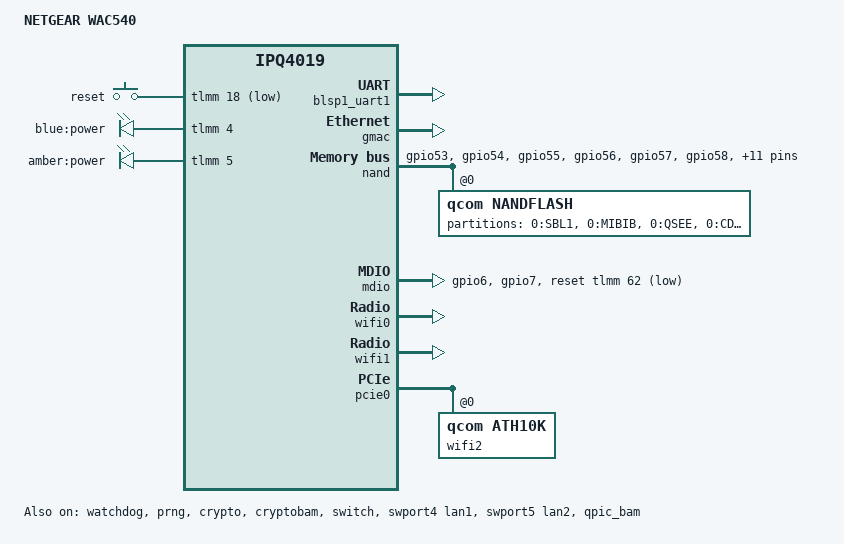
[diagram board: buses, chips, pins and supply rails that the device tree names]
// SPDX-License-Identifier: GPL-2.0-or-later OR MIT

/dts-v1/;

#include "qcom-ipq4019.dtsi"
#include <dt-bindings/gpio/gpio.h>
#include <dt-bindings/input/input.h>
#include <dt-bindings/soc/qcom,tcsr.h>
#include <dt-bindings/leds/common.h>

/ {
	model = "NETGEAR WAC540";
	compatible = "netgear,wac540", "qcom,ipq4019";

	aliases {
		ethernet0 = &gmac;
		led-boot = &led_power_blue;
		led-failsafe = &led_power_amber;
		led-upgrade = &led_power_amber;
	};

	chosen {
		stdout-path = "serial0:115200n8";
	};

	soc {
		counter@4a1000 {
			compatible = "qcom,qca-gcnt";
			reg = <0x4a1000 0x4>;
		};

		tcsr@1949000 {
			compatible = "qcom,tcsr";
			reg = <0x1949000 0x100>;
			qcom,wifi_glb_cfg = <TCSR_WIFI_GLB_CFG>;
		};

		ess_tcsr@1953000 {
			compatible = "qcom,tcsr";
			reg = <0x1953000 0x1000>;
			qcom,ess-interface-select = <TCSR_ESS_PSGMII>;
		};

		tcsr@1957000 {
			compatible = "qcom,tcsr";
			reg = <0x1957000 0x100>;
			qcom,wifi_noc_memtype_m0_m2 = <TCSR_WIFI_NOC_MEMTYPE_M0_M2>;
		};
	};

	keys {
		compatible = "gpio-keys";

		reset {
			label = "reset";
			gpios = <&tlmm 18 GPIO_ACTIVE_LOW>;
			linux,code = <KEY_RESTART>;
		};
	};

	leds {
		compatible = "gpio-leds";

		led_power_blue: power_blue {
			label = "blue:power";
			gpios = <&tlmm 4 GPIO_ACTIVE_HIGH>;
		};

		led_power_amber: power_amber {
			label = "amber:power";
			gpios = <&tlmm 5 GPIO_ACTIVE_HIGH>;
		};
	};
};

&blsp1_uart1 {
	status = "okay";
};

&watchdog {
	status = "okay";
};

&prng {
	status = "okay";
};

&crypto {
	status = "okay";
};

&cryptobam {
	status = "okay";
};

&gmac {
	status = "okay";
};

/* Activeer de interne Qualcomm DSA switch controller */
&switch {
	status = "okay";
};

/* Activeer de fysieke LAN poort 1 */
&swport4 {
	status = "okay";
	label = "lan1";
};

/* Activeer de fysieke LAN poort 2 */
&swport5 {
	status = "okay";
	label = "lan2";
};

&qpic_bam {
	status = "okay";
};

&nand {
	status = "okay";
	pinctrl-0 = <&nand_pins>;
	pinctrl-names = "default";

	nandflash@0 {
		reg = <0>;
		compatible = "qcom,nandflash";
        
		partitions {
			compatible = "fixed-partitions";
			#address-cells = <1>;
			#size-cells = <1>;

			partition@0 {
				label = "0:SBL1";
				reg = <0x00000000 0x00100000>;
				read-only;
			};

			partition@100000 {
				label = "0:MIBIB";
				reg = <0x00100000 0x00100000>;
				read-only;
			};

			partition@200000 {
				label = "0:QSEE";
				reg = <0x00200000 0x00100000>;
				read-only;
			};

			partition@300000 {
				label = "0:CDT";
				reg = <0x00300000 0x00080000>;
				read-only;
			};

			partition@380000 {
				label = "0:APPSBLENV";
				reg = <0x00380000 0x00080000>;
				read-only;
			};

			partition@400000 {
				label = "0:APPSBL";
				reg = <0x00400000 0x00200000>;
				read-only;
			};

			partition@600000 {
				label = "0:ART";
				reg = <0x00600000 0x00100000>;
				read-only;
			};

			/* 
			 * SAFELY CLAMPED FIRMWARE REGION:
			 * Truncated from 0x0f900000 to 0x05000000.
			 * Stops scanning cleanly at 0x05700000, 
			 * avoiding the bad blocks starting at 0x050e0000.
			 */
			partition@700000 {
				label = "firmware";
				reg = <0x00700000 0x05000000>;
				compatible = "ubi";
			};
		};
	};
};

&tlmm {
	mdio_pins: mdio_pinmux {
		mux_1 {
			pins = "gpio6";
			function = "mdio";
			bias-pull-up;
		};

		mux_2 {
			pins = "gpio7";
			function = "mdc";
			bias-pull-up;
		};
	};

	nand_pins: nand-pins {
		pins = "gpio53", "gpio54", "gpio55", "gpio56",
		       "gpio57", "gpio58", "gpio59", "gpio60",
		       "gpio61", "gpio62", "gpio63", "gpio64",
		       "gpio65", "gpio66", "gpio67", "gpio68",
		       "gpio69";
		function = "qpic";
		drive-strength = <10>;
		bias-disable;
	};
};

&mdio {
	status = "okay";

	pinctrl-0 = <&mdio_pins>;
	pinctrl-names = "default";
	reset-gpios = <&tlmm 62 GPIO_ACTIVE_LOW>;
	reset-delay-us = <2000>;
};

/* Interne QCA4019 Wi-Fi (2.4GHz) */
&wifi0 {
	status = "okay";
	qcom,ath10k-calibration-variant = "NETGEAR-WAC540";
};

/* Interne QCA4019 Wi-Fi (5GHz Low-band) */
&wifi1 {
	status = "okay";
	qcom,ath10k-calibration-variant = "NETGEAR-WAC540";
};

/* Externe QCA9984 Wi-Fi via PCIe (5GHz High-band) */
&pcie0 {
	status = "okay";
	bridge@0,0 {
		reg = <0x00000000 0 0 0 0>;
		#address-cells = <3>;
		#size-cells = <2>;
		ranges;
		wifi2: wifi@0,0 {
			compatible = "qcom,ath10k";
			reg = <0x00000000 0 0 0 0>;
			qcom,ath10k-calibration-variant = "NETGEAR-WAC540";
		};
	};
};

